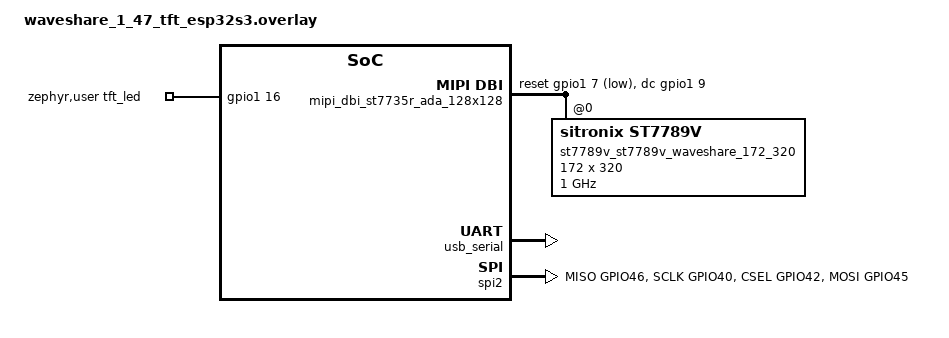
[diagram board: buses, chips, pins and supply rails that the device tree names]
/*
* Copyright (c) 2020, Kim Bøndergaard, <kim@fam-boendergaard.dk>
*
* SPDX-License-Identifier: Apache-2.0
*/

#include <zephyr/dt-bindings/mipi_dbi/mipi_dbi.h>

&usb_serial {
	status = "okay";
};

/* 16MB flash */
&flash0 {
	reg = <0x0 DT_SIZE_M(16)>;
};

/* 8MB psram */
&psram0 {
	size = <DT_SIZE_M(8)>;
};

&pinctrl {
	spim2tft_default: spim2tft_default {
		group1 {
			pinmux = <SPIM2_MISO_GPIO46>,
			<SPIM2_SCLK_GPIO40>,
			<SPIM2_CSEL_GPIO42>;
		};
		group2 {
			pinmux = <SPIM2_MOSI_GPIO45>;
			output-low;
		};
	};
};

&spi2 {
	pinctrl-0 = <&spim2tft_default>;
};

/ {
	chosen {
		zephyr,display = &st7789v_st7789v_waveshare_172_320;
		zephyr,console = &usb_serial;
		zephyr,shell-uart = &usb_serial;
	};
	
	zephyr,user {
		tft_led-gpios = <&gpio1 16 GPIO_ACTIVE_HIGH>;
	};
	
	mipi_dbi_st7735r_ada_128x128 {
		compatible = "zephyr,mipi-dbi-spi";
		spi-dev = <&spi2>;
		dc-gpios = <&gpio1 9 GPIO_ACTIVE_HIGH>;	    /* D41 */
		reset-gpios = <&gpio1 7 GPIO_ACTIVE_LOW>;	/* D39 */
		#address-cells = <1>;
		#size-cells = <0>;
		
		
		st7789v_st7789v_waveshare_172_320: st7789v@0 {
			compatible = "sitronix,st7789v";
			mipi-max-frequency = <1000000000>;
			reg = <0>;
			width = <172>;
			height = <320>;
			x-offset = <34>;
			y-offset = <0>;
			vcom = <0x19>;
			gctrl = <0x35>;
			vrhs = <0x12>;
			vdvs = <0x20>;
			mdac = <0x00>;
			gamma = <0x01>;// 01h G2.2 ; 02h G1.8 ; 03h G2.5; 04h G1.0
			colmod = <0x05>;
			lcm = <0x2c>;
			porch-param = [0c 0c 00 33 33];
			cmd2en-param = [5a 69 02 01];
			pwctrl1-param = [a4 a1];
			pvgam-param = [D0 04 0D 11 13 2B 3F 54 4C 18 0D 0B 1F 23];
			nvgam-param = [D0 04 0C 11 13 2C 3F 44 51 2F 1F 1F 20 23];
			ram-param = [00 F0];
			rgb-param = [CD 08 14];
			mipi-mode = "MIPI_DBI_MODE_SPI_4WIRE";
		};
	};
};

